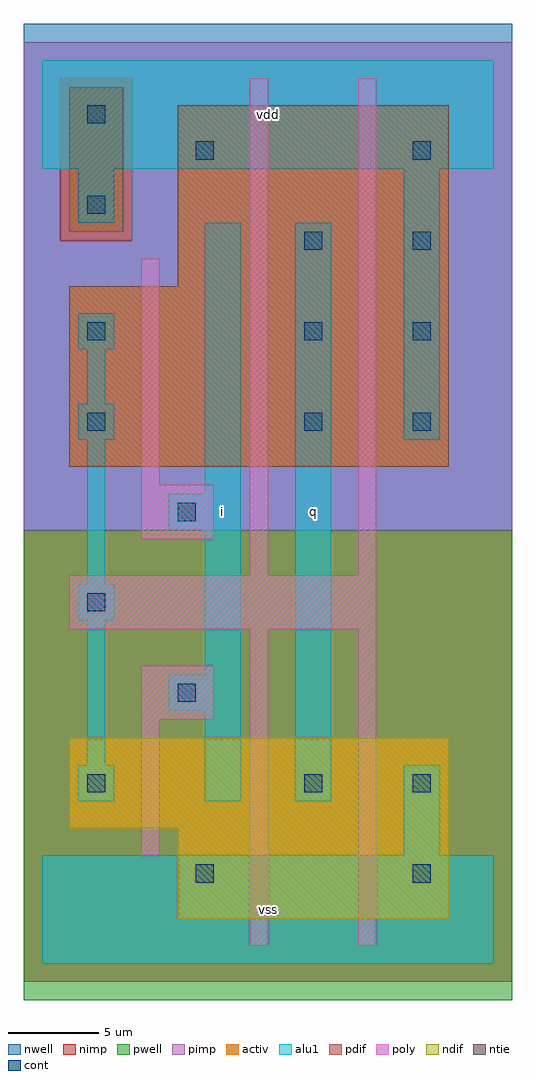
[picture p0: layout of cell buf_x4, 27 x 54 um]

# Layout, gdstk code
import gdstk
lib = gdstk.Library(unit=1e-6, precision=1e-09)
def R(c, l, rs):  # rectangles x0, y0, x1, y1
    for r in rs: c.add(gdstk.rectangle(r[:2], r[2:], *l))
def A(c, l, x, y, w, h, nx, ny, dx, dy):  # array of equal rectangles
    R(c, l, [(x+i*dx, y+j*dy, x+i*dx+w, y+j*dy+h) for i in range(nx) for j in range(ny)])
ndif = (3, 0)
pdif = (4, 0)
ntie = (5, 0)
cont = (25, 0)
pwell = (41, 0)
nwell = (42, 0)
activ = (43, 0)
pimp = (44, 0)
nimp = (45, 0)
poly = (46, 0)
alu1 = (49, 0)

buf_x4 = lib.new_cell('buf_x4')
R(buf_x4, ndif, [(7.5,2.5,22.5,7.5), (1.5,7.5,22.5,12.5)])
R(buf_x4, pdif, [(1.5,27.5,22.5,37.5), (7.5,37.5,22.5,47.5)])
R(buf_x4, ntie, [(1.5,40.5,4.5,48.5)])
A(buf_x4, cont, 2.5, 9.5, 1, 1, 1, 3, 0, 10)
A(buf_x4, cont, 14.5, 29.5, 1, 1, 1, 3, 0, 5)
A(buf_x4, cont, 20.5, 29.5, 1, 1, 1, 4, 0, 5)
R(buf_x4, cont, [(8.5,4.5,9.5,5.5), (20.5,4.5,21.5,5.5), (14.5,9.5,15.5,10.5), (20.5,9.5,21.5,10.5), (7.5,14.5,8.5,15.5), (7.5,24.5,8.5,25.5), (2.5,34.5,3.5,35.5), (2.5,41.5,3.5,42.5), (8.5,44.5,9.5,45.5), (2.5,46.5,3.5,47.5)])
R(buf_x4, pwell, [(-1,-2,26,24)])
R(buf_x4, nwell, [(-1,24,26,52)])
R(buf_x4, activ, [(7.5,2.5,22.5,7.5), (1.5,7.5,22.5,12.5), (1.5,27.5,22.5,37.5), (7.5,37.5,22.5,47.5), (1.5,40.5,4.5,48.5)])
R(buf_x4, pimp, [(-1,24,26,40), (-1,40,1,49), (5,40,26,49), (-1,49,26,51)])
R(buf_x4, nimp, [(-1,-1,26,24), (1,40,5,49)])
R(buf_x4, poly, [(11.5,1,12.5,18.5), (17.5,1,18.5,18.5), (5.5,6,6.5,13.5), (5.5,13.5,9.5,16.5), (1.5,18.5,18.5,21.5), (11.5,21.5,12.5,49), (17.5,21.5,18.5,49), (5.5,23.5,9.5,26.5), (5.5,26.5,6.5,39)])
A(buf_x4, alu1, 2, 9, 2, 2, 1, 3, 0, 10)
R(buf_x4, alu1, [(0,0,25,6), (20,6,22,11), (9,9,11,14), (14,9,16,41), (2.5,11,3.5,19), (7,14,11,16), (9,16,11,24), (2.5,21,3.5,29), (7,24,11,26), (9,26,11,41), (20,29,22,44), (2.5,31,3.5,34), (2,34,4,36), (2,41,4,44), (0,44,25,50)])
buf_x4.add(gdstk.Label('i', (10,25), layer=49, texttype=0))
buf_x4.add(gdstk.Label('vss', (12.5,3), layer=49, texttype=0))
buf_x4.add(gdstk.Label('q', (15,25), layer=49, texttype=0))
buf_x4.add(gdstk.Label('vdd', (12.5,47), layer=49, texttype=0))

lib.write_gds('buf_x4.gds')
